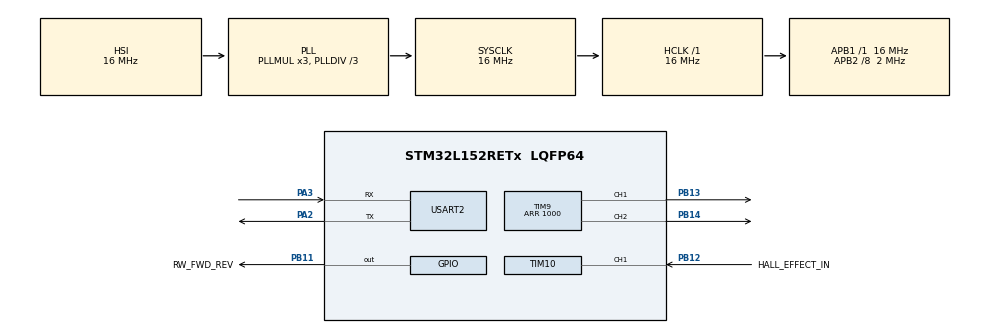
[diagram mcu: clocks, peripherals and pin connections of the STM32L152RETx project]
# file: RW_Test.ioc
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Mcu.Family=STM32L1
Mcu.Name=STM32L152RETx
Mcu.Package=LQFP64
NVIC.PriorityGroup=NVIC_PRIORITYGROUP_0
NVIC.TIM10_IRQn=true\:0\:0\:false\:false\:true\:true\:true
PA2.Mode=Asynchronous
PA2.Signal=USART2_TX
PA3.Mode=Asynchronous
PA3.Signal=USART2_RX
PB11.GPIO_Label=RW_FWD_REV
PB11.Signal=GPIO_Output
PB12.GPIO_Label=HALL_EFFECT_IN
PB12.Signal=S_TIM10_CH1
PB13.Signal=S_TIM9_CH1
PB14.Signal=S_TIM9_CH2
ProjectManager.HeapSize=0x200
ProjectManager.StackSize=0x400
ProjectManager.TargetToolchain=MDK-ARM V5
RCC.48MHZClocksFreq_Value=24000000
RCC.AHBFreq_Value=16000000
RCC.APB1Freq_Value=16000000
RCC.APB1TimFreq_Value=16000000
RCC.APB2CLKDivider=RCC_HCLK_DIV8
RCC.APB2Freq_Value=2000000
RCC.APB2TimFreq_Value=4000000
RCC.HCLKFreq_Value=16000000
RCC.HSE_VALUE=8000000
RCC.HSI_VALUE=16000000
RCC.MSI_VALUE=2097000
RCC.PLLDIV=RCC_PLL_DIV3
RCC.RTCClockSelectionVirtual=RCC_RTCCLKSOURCE_LSE
RCC.SYSCLKFreq_VALUE=16000000
RCC.SYSCLKSource=RCC_SYSCLKSOURCE_PLLCLK
RCC.USBOutput=48000000
RCC.VCOOutputFreq_Value=48000000
SH.S_TIM10_CH1.0=TIM10_CH1,Input_Capture1_from_TI1
SH.S_TIM9_CH1.0=TIM9_CH1,PWM Generation1 CH1
SH.S_TIM9_CH2.0=TIM9_CH2,PWM Generation2 CH2
TIM10.Channel=TIM_CHANNEL_1
TIM10.ClockDivision=TIM_CLOCKDIVISION_DIV4
TIM10.ICPolarity_CH1=TIM_INPUTCHANNELPOLARITY_RISING
TIM10.Period=65535
TIM9.Channel-PWM\ Generation1\ CH1=TIM_CHANNEL_1
TIM9.Channel-PWM\ Generation2\ CH2=TIM_CHANNEL_2
TIM9.ClockDivision=TIM_CLOCKDIVISION_DIV4
TIM9.Period=1000
USART2.VirtualMode=VM_ASYNC
VP_TIM10_VS_ClockSourceINT.Mode=Internal
VP_TIM9_VS_ClockSourceINT.Mode=Internal
board=NUCLEO-L152RE

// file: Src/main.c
/* USER CODE BEGIN Header */
/**
  ******************************************************************************
  * @file           : main.c
  * @brief          : Main program body
  ******************************************************************************
  * @attention
  *
  * <h2><center>&copy; Copyright (c) 2019 STMicroelectronics.
  * All rights reserved.</center></h2>
  *
  * This software component is licensed by ST under BSD 3-Clause license,
  * the "License"; You may not use this file except in compliance with the
  * License. You may obtain a copy of the License at:
  *                        opensource.org/licenses/BSD-3-Clause
  *
  ******************************************************************************
  */
/* USER CODE END Header */

#include "main.h"

/* USER CODE BEGIN Includes */
#include <string.h>
#include <stdlib.h>
#include <Actuator_Lib.h>

/* USER CODE END Includes */

TIM_HandleTypeDef htim9;
TIM_HandleTypeDef htim10;

UART_HandleTypeDef huart2;

void SystemClock_Config(void);
static void MX_GPIO_Init(void);
static void MX_TIM9_Init(void);
static void MX_TIM10_Init(void);
static void MX_USART2_UART_Init(void);

int main(void)
{

  /* MCU Configuration--------------------------------------------------------*/

  /* Reset of all peripherals, Initializes the Flash interface and the Systick. */
  HAL_Init();

  /* Configure the system clock */
  SystemClock_Config();

  /* Initialize all configured peripherals */
  MX_GPIO_Init();
  MX_TIM9_Init();
  MX_TIM10_Init();
  MX_USART2_UART_Init();
  /* USER CODE BEGIN 2 */

	char send[100];
	char rec[100];

	initActuators(&htim9, &htim10, RW_FWD_REV_Pin);

	float measured_speed_rpm = 0;

  /* USER CODE END 2 */

  /* Infinite loop */
  while (1)
  {

    /* USER CODE BEGIN 3 */
		sprintf(send, "Enter a PWM from -100.00 to 100.00: ");
		HAL_UART_Transmit(&huart2, (uint8_t*)send, strlen(send), 20);

		int i = 0;
		while(1) {
			if(HAL_UART_Receive(&huart2, (uint8_t*)&rec[i], 1, 100) == HAL_OK) {
				HAL_UART_Transmit(&huart2, (uint8_t*)&rec[i], 1, 10);
				if(rec[i] == '\n') {
					rec[i] = '\0';
					break;
				}
				i++;
			}

			rw_get_speed(&measured_speed_rpm);
		}

		float rw_pwm = atof(rec);
		if(rw_pwm > 100) rw_pwm = 100;
		else if(rw_pwm < -100) rw_pwm = -100;
		sprintf(send, "rw_pwm = %6.2f\n", rw_pwm);
		HAL_UART_Transmit(&huart2, (uint8_t*)send, strlen(send), 20);
		rw_set_speed(rw_pwm);
  }
  /* USER CODE END 3 */
}

void SystemClock_Config(void)
{
  RCC_OscInitTypeDef RCC_OscInitStruct = {0};
  RCC_ClkInitTypeDef RCC_ClkInitStruct = {0};

  /** Configure the main internal regulator output voltage
  */
  __HAL_PWR_VOLTAGESCALING_CONFIG(PWR_REGULATOR_VOLTAGE_SCALE1);
  /** Initializes the CPU, AHB and APB busses clocks
  */
  RCC_OscInitStruct.OscillatorType = RCC_OSCILLATORTYPE_HSI;
  RCC_OscInitStruct.HSIState = RCC_HSI_ON;
  RCC_OscInitStruct.HSICalibrationValue = RCC_HSICALIBRATION_DEFAULT;
  RCC_OscInitStruct.PLL.PLLState = RCC_PLL_ON;
  RCC_OscInitStruct.PLL.PLLSource = RCC_PLLSOURCE_HSI;
  RCC_OscInitStruct.PLL.PLLMUL = RCC_PLL_MUL3;
  RCC_OscInitStruct.PLL.PLLDIV = RCC_PLL_DIV3;
  if (HAL_RCC_OscConfig(&RCC_OscInitStruct) != HAL_OK)
  {
    Error_Handler();
  }
  /** Initializes the CPU, AHB and APB busses clocks
  */
  RCC_ClkInitStruct.ClockType = RCC_CLOCKTYPE_HCLK|RCC_CLOCKTYPE_SYSCLK
                              |RCC_CLOCKTYPE_PCLK1|RCC_CLOCKTYPE_PCLK2;
  RCC_ClkInitStruct.SYSCLKSource = RCC_SYSCLKSOURCE_PLLCLK;
  RCC_ClkInitStruct.AHBCLKDivider = RCC_SYSCLK_DIV1;
  RCC_ClkInitStruct.APB1CLKDivider = RCC_HCLK_DIV1;
  RCC_ClkInitStruct.APB2CLKDivider = RCC_HCLK_DIV8;

  if (HAL_RCC_ClockConfig(&RCC_ClkInitStruct, FLASH_LATENCY_0) != HAL_OK)
  {
    Error_Handler();
  }
}

static void MX_TIM9_Init(void)
{

  TIM_ClockConfigTypeDef sClockSourceConfig = {0};
  TIM_MasterConfigTypeDef sMasterConfig = {0};
  TIM_OC_InitTypeDef sConfigOC = {0};

  htim9.Instance = TIM9;
  htim9.Init.Prescaler = 0;
  htim9.Init.CounterMode = TIM_COUNTERMODE_UP;
  htim9.Init.Period = 1000;
  htim9.Init.ClockDivision = TIM_CLOCKDIVISION_DIV4;
  if (HAL_TIM_Base_Init(&htim9) != HAL_OK)
  {
    Error_Handler();
  }
  sClockSourceConfig.ClockSource = TIM_CLOCKSOURCE_INTERNAL;
  if (HAL_TIM_ConfigClockSource(&htim9, &sClockSourceConfig) != HAL_OK)
  {
    Error_Handler();
  }
  if (HAL_TIM_PWM_Init(&htim9) != HAL_OK)
  {
    Error_Handler();
  }
  sMasterConfig.MasterOutputTrigger = TIM_TRGO_RESET;
  sMasterConfig.MasterSlaveMode = TIM_MASTERSLAVEMODE_DISABLE;
  if (HAL_TIMEx_MasterConfigSynchronization(&htim9, &sMasterConfig) != HAL_OK)
  {
    Error_Handler();
  }
  sConfigOC.OCMode = TIM_OCMODE_PWM1;
  sConfigOC.Pulse = 0;
  sConfigOC.OCPolarity = TIM_OCPOLARITY_HIGH;
  sConfigOC.OCFastMode = TIM_OCFAST_DISABLE;
  if (HAL_TIM_PWM_ConfigChannel(&htim9, &sConfigOC, TIM_CHANNEL_1) != HAL_OK)
  {
    Error_Handler();
  }
  if (HAL_TIM_PWM_ConfigChannel(&htim9, &sConfigOC, TIM_CHANNEL_2) != HAL_OK)
  {
    Error_Handler();
  }
  HAL_TIM_MspPostInit(&htim9);

}

static void MX_TIM10_Init(void)
{

  TIM_ClockConfigTypeDef sClockSourceConfig = {0};
  TIM_IC_InitTypeDef sConfigIC = {0};

  htim10.Instance = TIM10;
  htim10.Init.Prescaler = 0;
  htim10.Init.CounterMode = TIM_COUNTERMODE_UP;
  htim10.Init.Period = 65535;
  htim10.Init.ClockDivision = TIM_CLOCKDIVISION_DIV4;
  if (HAL_TIM_Base_Init(&htim10) != HAL_OK)
  {
    Error_Handler();
  }
  sClockSourceConfig.ClockSource = TIM_CLOCKSOURCE_INTERNAL;
  if (HAL_TIM_ConfigClockSource(&htim10, &sClockSourceConfig) != HAL_OK)
  {
    Error_Handler();
  }
  if (HAL_TIM_IC_Init(&htim10) != HAL_OK)
  {
    Error_Handler();
  }
  sConfigIC.ICPolarity = TIM_INPUTCHANNELPOLARITY_RISING;
  sConfigIC.ICSelection = TIM_ICSELECTION_DIRECTTI;
  sConfigIC.ICPrescaler = TIM_ICPSC_DIV1;
  sConfigIC.ICFilter = 0;
  if (HAL_TIM_IC_ConfigChannel(&htim10, &sConfigIC, TIM_CHANNEL_1) != HAL_OK)
  {
    Error_Handler();
  }

}

static void MX_USART2_UART_Init(void)
{

  huart2.Instance = USART2;
  huart2.Init.BaudRate = 115200;
  huart2.Init.WordLength = UART_WORDLENGTH_8B;
  huart2.Init.StopBits = UART_STOPBITS_1;
  huart2.Init.Parity = UART_PARITY_NONE;
  huart2.Init.Mode = UART_MODE_TX_RX;
  huart2.Init.HwFlowCtl = UART_HWCONTROL_NONE;
  huart2.Init.OverSampling = UART_OVERSAMPLING_16;
  if (HAL_UART_Init(&huart2) != HAL_OK)
  {
    Error_Handler();
  }

}

static void MX_GPIO_Init(void)
{
  GPIO_InitTypeDef GPIO_InitStruct = {0};

  /* GPIO Ports Clock Enable */
  __HAL_RCC_GPIOA_CLK_ENABLE();
  __HAL_RCC_GPIOB_CLK_ENABLE();

  /*Configure GPIO pin Output Level */
  HAL_GPIO_WritePin(RW_FWD_REV_GPIO_Port, RW_FWD_REV_Pin, GPIO_PIN_RESET);

  /*Configure GPIO pin : RW_FWD_REV_Pin */
  GPIO_InitStruct.Pin = RW_FWD_REV_Pin;
  GPIO_InitStruct.Mode = GPIO_MODE_OUTPUT_PP;
  GPIO_InitStruct.Pull = GPIO_NOPULL;
  GPIO_InitStruct.Speed = GPIO_SPEED_FREQ_LOW;
  HAL_GPIO_Init(RW_FWD_REV_GPIO_Port, &GPIO_InitStruct);

}

void Error_Handler(void)
{
}

/************************ (C) COPYRIGHT STMicroelectronics *****END OF FILE****/
